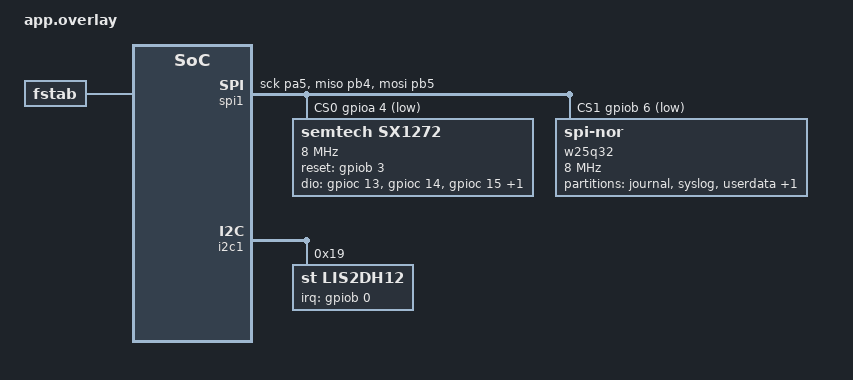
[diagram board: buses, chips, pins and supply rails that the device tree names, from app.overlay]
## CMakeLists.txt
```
# SPDX-License-Identifier: Apache-2.0

cmake_minimum_required(VERSION 3.20.0)
find_package(Zephyr REQUIRED HINTS $ENV{ZEPHYR_BASE})
project(badge)

target_sources(app PRIVATE
    src/main.c
    src/accel.c
    src/ble.c
    src/button.c
    src/event_log.c
    src/gatt_badge.c
    src/lora.c
    src/user_data.c)

# Доступ к низкоуровневому API модуля loramac-node (radio.h: struct Radio_s)
# для прямого чтения/записи регистров SX1272 по SPI (диагностика в lora.c).
#
# ZEPHYR_LORAMAC_NODE_MODULE_DIR недоступна на этом этапе, поэтому вычисляем
# путь к модулю относительно ZEPHYR_BASE (ZEPHYR_BASE/../modules/...).
get_filename_component(WEST_TOPDIR "${ZEPHYR_BASE}/.." ABSOLUTE)
target_include_directories(app PRIVATE
    ${WEST_TOPDIR}/modules/lib/loramac-node/src/radio)
```

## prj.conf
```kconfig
# SPDX-License-Identifier: Apache-2.0

# ================================================================== #
#  Базовая периферия                                                   #
# ================================================================== #
CONFIG_GPIO=y

# ================================================================== #
#  Акселерометр LIS2DH12 (модуль RobotClass, узел &lis2dh12 на i2c1)   #
#                                                                     #
#  CONFIG_SENSOR — подсистема Zephyr: единый API                      #
#                  (sensor_sample_fetch / sensor_channel_get /        #
#                  sensor_attr_set) для любых сенсоров;               #
#  CONFIG_I2C    — шина (драйвер LIS2DH включил бы её сам, но         #
#                  пропишем явно, как в сэмпле samples/sensor/lis2dh);#
#  CONFIG_LIS2DH — драйвер drivers/sensor/st/lis2dh; включается сам   #
#                  по факту узла в devicetree, здесь явно для         #
#                  наглядности.                                       #
#                                                                     #
#  Параметры чипа (см. Kconfig в drivers/sensor/st/lis2dh):           #
#    OPER_MODE_NORMAL    — 10-бит режим (баланс разрешение/ток);      #
#    ACCEL_RANGE_RUNTIME — диапазон ±2/4/8/16g задаём из кода (±2g);  #
#    ODR_RUNTIME         — частоту измерений задаём из кода (10 Гц).  #
#                                                                     #
#  Этап 2 (триггеры по INT1 → PB0): добавить                          #
#    CONFIG_LIS2DH_TRIGGER_GLOBAL_THREAD=y — тогда прерывания чипа    #
#    обрабатывает драйвер в системной workqueue (без своего потока).  #
#                                                                     #
#  Встроенный датчик температуры кристалла: канал SENSOR_CHAN_DIE_TEMP#
#  (источник данных для ESS 0x2A6E — внешнего термометра на плате нет)#
# ================================================================== #
CONFIG_SENSOR=y
CONFIG_I2C=y
CONFIG_LIS2DH=y
CONFIG_LIS2DH_OPER_MODE_NORMAL=y
CONFIG_LIS2DH_ACCEL_RANGE_RUNTIME=y
CONFIG_LIS2DH_ODR_RUNTIME=y
CONFIG_LIS2DH_MEASURE_TEMPERATURE=y

# Печать %f в LOG_* (sensor_value_to_double): поддержка дробных в
# cbprintf (+ несколько КБ flash). Без неё — только целые числа.
CONFIG_CBPRINTF_FP_SUPPORT=y

# Стек main-потока: в нём до main() выполняются POST_KERNEL-инициализации
# устройств (включая драйвер lis2dh с LOG_INF). Дефолтных 1024 байт
# не хватило — MPU FAULT "Stack overflow" при загрузке (поймано по RTT).
CONFIG_MAIN_STACK_SIZE=2048

# Стек idle-потока: на нём работает z_cstart (boot-контекст), где тоже
# выполняются инициализации устройств. Дефолтные на ARM 384 байта
# переполнились прямо в init драйвера lis2dh (LOG-пакет 256 Б +
# кадры драйвера) — MPU FAULT по адресу стека z_idle_stacks.
CONFIG_IDLE_STACK_SIZE=1024

# Стек потока обработки логов: он форматирует %f (cbprintf FP) —
# дефолтного запаса на 6 аргументов-Double может не хватить.
CONFIG_LOG_PROCESS_THREAD_STACK_SIZE=2048

# ================================================================== #
#  LoRa-трансивер SX1272 (штатная подсистема Zephyr, узел в app.overlay)#
#                                                                     #
#  CONFIG_LORA                             — API lora_config/recv;     #
#  CONFIG_LORA_MODULE_BACKEND_LORAMAC_NODE — низкоуровневый драйвер    #
#        SX127x из модуля modules/lib/loramac-node. Чип определяется   #
#        по devicetree: compatible = "semtech,sx1272".                 #
# ================================================================== #
CONFIG_SPI=y
CONFIG_LORA=y
CONFIG_LORA_MODULE_BACKEND_LORAMAC_NODE=y
# LoRaWAN не используется: работаем на уровне LoRa-модема (точка-точка).
CONFIG_LORAWAN=n
# Shell-команды lora (config/send/recv) для интерактивной проверки —
# выключены: shell по RTT поллит канал и мешает CPU1 входить в STOP2.
# Для отладки включить вместе с shell (см. блок ниже):
# CONFIG_LORA_SHELL=y

# ================================================================== #
#  Низкое энергопотребление CPU1: PM + Tickless                       #
#                                                                     #
#  ВНИМАНИЕ: PM ВРЕМЕННО ВЫКЛЮЧЕН. С CONFIG_PM=y после загрузки       #
#  I2C-обмен с LIS2DH12 сыпется ошибками (-EIO, «failed to read       #
#  reg_ctrl1», «did not enter suspended state») — конфликт            #
#  suspend/resume I2C1 при входе в STOP2 (нет sleep-pinctrl у i2c1    #
#  в DTS платы). Починить: добавить pinctrl-1 (sleep) для PB8/PB9     #
#  или разобрать pm_device политику драйвера lis2dh. Пока — PM=n,     #
#  всё остальное (tickless) без изменений.                            #
# ================================================================== #
# CONFIG_PM=y
CONFIG_PM=n
CONFIG_PM_DEVICE=n
CONFIG_TICKLESS_KERNEL=y

# === Консоль через SEGGER RTT (вместо USB CDC ACM) ===

# Базовая консоль
CONFIG_CONSOLE=y
CONFIG_STDOUT_CONSOLE=y

# Отключаем UART-консоль, чтобы не было конфликта с RTT
CONFIG_UART_CONSOLE=n

# Включаем библиотеку SEGGER RTT
CONFIG_USE_SEGGER_RTT=y

# Up-буфер RTT (Ch1, логи): 4 КБ вместо 1 КБ — boot-пачка логов не
# дропается, пока openocd-RTT-сервер медленно подтягивает данные
# (LOG_BACKEND_RTT_MODE_DROP + буфер по умолчанию 1 КБ теряли
# init-сообщения журнала/PSA/littlefs при старте).
CONFIG_SEGGER_RTT_BUFFER_SIZE_UP=4096

# Down-буфер RTT (Ch0, ввод в shell): дефолтные 16 Б приводили к
# склейке команд ("journal dump 40\r\n" — ровно 16 Б, хвост затирался).
CONFIG_SEGGER_RTT_BUFFER_SIZE_DOWN=64

# Направляем консольный вывод в RTT (Channel 0)
CONFIG_RTT_CONSOLE=y

# === Shell поверх RTT (Channel 0) ===
# ВНИМАНИЕ (энергопотребление): поллинг RTT-бекенда не даёт CPU1 войти
# в STOP2 (см. coconut_vibe). Сейчас включён для отладки внешней FLASH
# (journal dump/clear, fs ls) — включение в секции «Shell на RTT» ниже.
# Перед возвратом PM (STOP2) выключить (CONFIG_SHELL=n).
# CONFIG_KERNEL_SHELL=y

# === Подсистема логирования (LOG_INF/LOG_ERR/...) в SEGGER RTT ===
CONFIG_LOG=y
# RTT-бекенд: направляет сообщения LOG_* в SEGGER RTT
CONFIG_LOG_BACKEND_RTT=y
# Логи — на RTT Channel 1: Channel 0 занят консолью (CONFIG_RTT_CONSOLE).
CONFIG_LOG_BACKEND_RTT_BUFFER=1
# Режим DROP (терять при переполнении): не блокирует CPU. Для отладки
# можно поставить BLOCK — надёжнее, но ценой задержек.
CONFIG_LOG_BACKEND_RTT_MODE_DROP=y
# Максимальный размер одного сообщения лога (байт)
CONFIG_LOG_BACKEND_RTT_MESSAGE_SIZE=256
# Уровень логирования по умолчанию: 3 = INF — на время разработки.
# Перед замером тока поставить 1 (только ERR): логи будят CPU1 из STOP2.
# 1 = ERR, 2 = WRN, 3 = INF, 4 = DBG.
CONFIG_LOG_DEFAULT_LEVEL=3
# Буферизация логов: накапливать в кольцевом буфере, сбрасывать
# порциями — реже будит CPU из STOP2. При переполнении старые теряются.
CONFIG_LOG_MODE_OVERFLOW=y

# ================================================================== #
#  Bluetooth LE (on-chip радио CPU2)                                   #
#                                                                     #
#  Радиомодуль STM32WB55 (CPU2) управляется через IPCC/IPM-драйвер     #
#  (drivers/bluetooth/hci/ipm_stm32wb.c). Узел ble_rf уже включён     #
#  в stm32wb.dtsi, а zephyr,bt-hci = &ble_rf — в chosen.              #
#  Поэтому CONFIG_BT_STM32_IPM включается автоматически.              #
# ================================================================== #

# Базовый стек Bluetooth LE (Host + Controller-драйвер IPM)
CONFIG_BT=y

# Периферийная роль (бейдж — периферия для хоста)
CONFIG_BT_PERIPHERAL=y

# Менеджер безопасности (SMP): задел под шифрованный канал данных
CONFIG_BT_SMP=y

# Хранение ключей спаривания и ID-адреса во flash (NVS).
# Сохраняет bonding между перезагрузками (ключи, IRK, CSRK).
# ВАЖНО: при CONFIG_BT_SETTINGS=y стек НЕ создаёт ID-адрес сам.
# Приложение обязано вызвать settings_load() ПОСЛЕ bt_enable()
# (в callback'е bt_ready в ble.c), иначе реклама падает с -EAGAIN (-11):
#   "No ID address. App must call settings_load()".
CONFIG_BT_SETTINGS=y
CONFIG_SETTINGS=y
CONFIG_FLASH=y
CONFIG_FLASH_MAP=y
CONFIG_NVS=y

# Имя устройства, которое увидит хост (телефон/ПК) при сканировании
CONFIG_BT_DEVICE_NAME="Badge"

# Увеличиваем стек системной очереди работ (settings/BT требуют больше)
CONFIG_SYSTEM_WORKQUEUE_STACK_SIZE=2048

# ================================================================== #
#  Энергосбережение BLE (connection parameters)                       #
#                                                                     #
#  Минимизируем активность радио CPU2 через большие connection        #
#  interval + slave latency: радио просыпается раз в ~4 секунды.      #
#  Параметры передаются хосту через GAP; хост применяет их            #
#  ПОСЛЕ успешного подключения.                                       #
# ================================================================== #
CONFIG_BT_GAP_PERIPHERAL_PREF_PARAMS=y
# interval: единица 1.25 мс.
# MIN=320, MAX=320 → 400 мс между connection events.
CONFIG_BT_PERIPHERAL_PREF_MIN_INT=320
CONFIG_BT_PERIPHERAL_PREF_MAX_INT=320
# slave latency: пропуск 9 events → радио спит ~4 сек (9*400 мс)
CONFIG_BT_PERIPHERAL_PREF_LATENCY=9
# supervision timeout: единица 10 мс.
# Требование BLE: timeout > (1+latency)*interval*2 → 6 > (1+9)*0.4*2=8 ❌
# Поэтому при latency=9 interval=400мс нужен timeout > 8 сек → 1000 (10с).
CONFIG_BT_PERIPHERAL_PREF_TIMEOUT=1000

# ================================================================== #
#  GATT-сервисы данных жетона (контракт: android_badge/PROTOCOL.md)     #
#                                                                       #
#  Стандартные (готовые подсистемы Zephyr):                             #
#    BAS  0x180F — уровень заряда (пока заглушка 100 %: нет             #
#                  мониторинга АКБ на отладочной плате);                #
#    DIS  0x180A — версия ПО (Firmware Revision).                       #
#  ESS 0x181A/0x2A6E (температура) — готового сервиса в Zephyr НЕТ      #
#    (CONFIG_BT_ESS не существует), реализован в src/gatt_badge.c       #
#    c SIG-UUID; источник — термодатчик кристалла LIS2DH12.             #
#  Кастомный сервис BAD6E001 (аксель BAD6E002 + конфиг BAD6E003) —      #
#    тоже src/gatt_badge.c; конфиг хранится в settings/NVS badge/cfg.   #
# ================================================================== #
CONFIG_BT_BAS=y
CONFIG_BT_DIS=y
CONFIG_BT_DIS_FW_REV=y
CONFIG_BT_DIS_FW_REV_STR="1.0.0"

# ================================================================== #
#  MCUmgr over BLE + MCUboot (OTA: upload → test → reset → confirm)     #
#                                                                       #
#  Раскладка флеша платы weact_stm32wb55_core (партии в её DTS):        #
#    0x08000000 mcuboot (48 КБ) · 0x0800C000 slot0 (400 КБ) ·           #
#    0x08070000 slot1 (400 КБ) · 0x080D4000 scratch (16 КБ) ·           #
#    0x080D8000 storage/NVS (8 КБ).                                     #
#  Сборка MCUboot: см. README (bootloader/mcuboot/boot/zephyr).         #
#  Подпись образа: тот же ключ, что у бутлоадера (RSA-2048,             #
#  root-rsa-2048.pem из модуля MCUboot; путь относителен west topdir).  #
#  Артефакт OTA: build/zephyr/app_update.bin (подписан автоматически).  #
# ================================================================== #
CONFIG_ZCBOR=y			# зависимость MCUMGR (библиотека CBOR)
CONFIG_STREAM_FLASH=y		# зависимость IMG_MANAGER
CONFIG_MCUMGR=y
CONFIG_MCUMGR_TRANSPORT_BT=y
# На время SMP-обмена — быстрые conn params (после — медленные из
# CONFIG_BT_PERIPHERAL_PREF_*); ускоряет OTA на порядок.
CONFIG_MCUMGR_TRANSPORT_BT_CONN_PARAM_CONTROL=y
# SMP-сервис без требования pairing (фаза 1; дефолт при BT_SMP=y —
# RW_AUTHEN, что ломает just-works сопряжение с приложением).
CONFIG_MCUMGR_TRANSPORT_BT_PERM_RW=y
CONFIG_MCUMGR_GRP_OS=y
CONFIG_MCUMGR_GRP_IMG=y
CONFIG_IMG_MANAGER=y
CONFIG_BOOTLOADER_MCUBOOT=y
CONFIG_MCUBOOT_SIGNATURE_KEY_FILE="bootloader/mcuboot/root-rsa-2048.pem"

# MTU для SMP/OTA: 247 байт ATT (нужно приложению mcumgr-ble;
# дефолтные 23 байта делают перенос 400-КБ образа вечностью).
CONFIG_BT_L2CAP_TX_MTU=247
CONFIG_BT_BUF_ACL_TX_SIZE=251
CONFIG_BT_BUF_ACL_RX_SIZE=251
# В этом дереве Zephyr счётчик RX-буферов рефакторен: общий лимит
# ведёт стек (flow control), извне настраиваются только «лишние»
# буферы (BT_BUF_ACL_RX_COUNT больше не существует).
CONFIG_BT_BUF_ACL_RX_COUNT_EXTRA=4

# ================================================================== #
#  Внешняя FLASH W25Q32 (4 МБ, узел &w25q32 на spi1, CS=PB6) — ТЗ 4.1    #
#                                                                       #
#  CONFIG_FLASH / CONFIG_FLASH_MAP уже включены выше (NVS для BT).      #
#  CONFIG_SPI_NOR    — драйвер drivers/flash/spi_nor.c; включается      #
#                      сам по факту узла "jedec,spi-nor" в DT,          #
#                      здесь явно для наглядности.                      #
# ================================================================== #
CONFIG_SPI_NOR=y

# Erase-гранулярность драйвера: 4 КБ (сектора W25Q32) вместо дефолтных
# 64 КБ. От неё отдаёт сектора flash_area_get_sectors() → FCB журнала
# ротирует 32 сектора по 4 КБ (износ равномернее), а не 2 по 64 КБ.
CONFIG_SPI_NOR_FLASH_LAYOUT_PAGE_SIZE=4096

# ================================================================== #
#  Кольцевой журнал событий (ТЗ 4.2) — FCB                              #
#                                                                       #
#  FCB (Flash Circular Buffer) — append-only кольцевой буфер по         #
#  секторам с CRC на каждую запись и автоматической ротацией            #
#  (амортизация износа). Запись ТЗ: 10 Б = ts(4)+type(1)+data(4)+CRC8.  #
#  Реализация: src/event_log.c.                                         #
# ================================================================== #
CONFIG_FCB=y

# ================================================================== #
#  Системный лог во внешней FLASH (ТЗ 4.1: ≤64 КБ)                       #
#                                                                       #
#  littlefs на партиции syslog (маунт /syslog через fstab в DT),        #
#  LOG_BACKEND_FS пишет LOG_* файлами log.NNNN: лимит 8 файлов ×        #
#  8 КБ = 64 КБ, старые удаляются (OVERWRITE). Логи по-прежнему         #
#  идут и в RTT (Channel 1) — флеш это дубль, не замена.                #
# ================================================================== #
CONFIG_FILE_SYSTEM=y
CONFIG_FILE_SYSTEM_LITTLEFS=y
CONFIG_LOG_BACKEND_FS=y
CONFIG_LOG_BACKEND_FS_DIR="/syslog"
CONFIG_LOG_BACKEND_FS_FILE_SIZE=8192
CONFIG_LOG_BACKEND_FS_FILES_LIMIT=6

# ================================================================== #
#  Shell на RTT (Channel 0, поверх консоли)                             #
#                                                                       #
#  Команды: journal dump/clear (src/event_log.c), fs ls/read            #
#  (FILE_SYSTEM_SHELL — смотреть /syslog, /data).                      #
#  ВНИМАНИЕ: поллинг RTT не даёт CPU1 войти в STOP2 — это отладочный   #
#  режим (сейчас PM выключен, не критично); при возврате PM —           #
#  CONFIG_SHELL=n (см. предупреждение в секции RTT выше).              #
# ================================================================== #
CONFIG_SHELL=y
CONFIG_SHELL_BACKEND_RTT=y
CONFIG_FILE_SYSTEM_SHELL=y

# ================================================================== #
#  RTC — метки времени журнала (ТЗ 4.2: UNIX timestamp)                 #
#                                                                       #
#  Драйвер rtc_stm32 (узел &rtc уже okay в DTS платы, тактирование      #
#  LSI). Синхронизации времени пока нет: метки монотонны от старта      #
#  питания, календарно фиктивны до первой установки времени.           #
# ================================================================== #
CONFIG_RTC=y
CONFIG_RTC_STM32=y

# ================================================================== #
#  Шифрование пользовательских данных (ТЗ 4.3): PSA Crypto, AES-256-GCM #
#                                                                       #
#  Крипто-стек: PSA Crypto API поверх mbedTLS (модуль tf-psa-crypto);   #
#  включено только необходимое: AES + GCM (остальное не линкуется).     #
#  Ключ: RNG при первом старте → NVS (settings sec/aeskey; CONFIG_SETTINGS#
#  уже включён выше для BT), реализация src/user_data.c; выбор стека    #
#  обоснован в Badge_Obsidian/Работа/Криптозащита пользовательских      #
#  данных.md.                                                          #
# ================================================================== #
CONFIG_ENTROPY_GENERATOR=y
CONFIG_PSA_CRYPTO=y
CONFIG_PSA_CRYPTO_PROVIDER_MBEDTLS=y
CONFIG_PSA_WANT_KEY_TYPE_AES=y
CONFIG_PSA_WANT_ALG_GCM=y
```

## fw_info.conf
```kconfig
# временно: читаем версии CPU2 без жёсткой проверки
CONFIG_BT_STM32_IPM_FW_CHECK_STRICT=n
```

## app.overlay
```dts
/* SPDX-License-Identifier: Apache-2.0 */

/*
 * Бейдж на WeAct Studio STM32WB55 Core Board.
 *
 * Кнопка sw0 (PH3) и светодиод led0 (PE4) уже определены в базовом DTS
 * платы — здесь не описываются (см. button.c: DT_ALIAS(sw0)/DT_ALIAS(led0)).
 *
 * Назначение overlay:
 *   - подключение LoRa-трансивера SX1272 на SPI1;
 *   - подключение внешней FLASH W25Q32 (4 МБ) на тот же SPI1 (второй CS);
 *   - подключение акселерометра LIS2DH12 на I2C1;
 *   - отключение неиспользуемой периферии для снижения тока.
 */

/ {
	aliases {
		lora0 = &sx1272;	/* алиас для подсистемы LoRa */
		accel0 = &lis2dh12;	/* алиас акселерометра (как на платах Zephyr) */
		extflash0 = &w25q32;	/* внешняя SPI-NOR FLASH (журнал/логи/данные) */
	};
};

/* ====================================================================== *
 *  SX1272 LoRa трансивер на SPI1 (распиновка проверена в zephyr_tutorial) *
 *                                                                         *
 *  Назначение пинов платы WeAct STM32WB55 Core:                           *
 *    SCK  = PA5   (spi1_sck_pa5)                                          *
 *    MISO = PB4   (spi1_miso_pb4)                                         *
 *    MOSI = PB5   (spi1_mosi_pb5)                                         *
 *    CS   = PA4   (программный CS через cs-gpios, индекс 0)               *
 *                                                                         *
 *    RESET = PB3  (SX1272: активный высокий, open-drain)                  *
 *                                                                         *
 *  DIO пины (прерывания трансивера):                                      *
 *    DIO0 = PC13 (RxDone — основной источник пробуждения CPU1 из STOP2), *
 *    DIO1 = PC14, DIO2 = PC15, DIO3 = PC0 (задел: CAD/Timeout).           *
 * ====================================================================== */
&spi1 {
	pinctrl-0 = <&spi1_sck_pa5 &spi1_miso_pb4 &spi1_mosi_pb5>;
	pinctrl-names = "default";
	/* Два программных CS на шине: индекс 0 — SX1272 (PA4), 1 — W25Q32 (PB6).
	 * Zephyr SPI-транзакции лочат шину на устройство, так что совместное
	 * использование SPI1 трансивером и флешей штатно. */
	cs-gpios = <&gpioa 4 GPIO_ACTIVE_LOW>, <&gpiob 6 GPIO_ACTIVE_LOW>;
	status = "okay";

	sx1272: sx1272@0 {
		compatible = "semtech,sx1272";
		reg = <0>;
		spi-max-frequency = <8000000>;
		status = "okay";

		/* SX1272: RESET активный высокий (open-drain) */
		reset-gpios = <&gpiob 3 GPIO_ACTIVE_HIGH>;

		/* DIO0..DIO3 */
		dio-gpios = <&gpioc 13 (GPIO_PULL_DOWN | GPIO_ACTIVE_HIGH)>,
			    <&gpioc 14 (GPIO_PULL_DOWN | GPIO_ACTIVE_HIGH)>,
			    <&gpioc 15 (GPIO_PULL_DOWN | GPIO_ACTIVE_HIGH)>,
			    <&gpioc 0  (GPIO_PULL_DOWN | GPIO_ACTIVE_HIGH)>;

		power-amplifier-output = "rfo";
	};

	/* ================================================================== *
	 *  Внешняя FLASH W25Q32BVSIG (Winbond, 4 МБ) — ТЗ 4.1               *
	 *                                                                     *
	 *  Модуль (6 пин): VCC→3V3, GND→GND, SLK(CLK)→PA5,                  *
	 *  D1(DI/MOSI)→PB5, D0(DO/MISO)→PB4 — шина общая с SX1272;          *
	 *  CS→PB6 (cs-gpios, индекс 1). Если JEDEC ID читается как          *
	 *  000000/FFFFFF — у модуля D0/D1 перепутаны местами, поменять      *
	 *  два провода.                                                       *
	 *                                                                     *
	 *  Драйвер: штатный drivers/flash/spi_nor.c (compatible              *
	 *  "jedec,spi-nor", CONFIG_SPI_NOR). JEDEC ID W25Q32BV = ef 40 16.  *
	 *  8 МГц — надёжно на проводах-перемычках (чип держит до 104 МГц).   *
	 *                                                                     *
	 *  Разметка 4 МБ (ТЗ 4.1): журнал 128К · системный лог 64К ·         *
	 *  пользовательские данные 512К · резерв 3.34М. Резерв потом можно   *
	 *  отдать под любую партицию, не трогая чужие смещения.              *
	 * ================================================================== */
	w25q32: w25q32@1 {
		compatible = "jedec,spi-nor";
		reg = <1>;
		spi-max-frequency = <8000000>;
		jedec-id = [ef 40 16];
		size = <33554432>;	/* 4 МБ */
		status = "okay";

		partitions {
			compatible = "fixed-partitions";
			#address-cells = <1>;
			#size-cells = <1>;

			/* Кольцевый журнал событий (ТЗ 4.2), FCB: 32 сектора × 4 КБ */
			journal_partition: partition@0 {
				label = "journal";
				reg = <0x00000000 0x00020000>;	/* 128 КБ */
			};

			/* Системный лог (CONFIG_LOG_BACKEND_FS), littlefs */
			syslog_partition: partition@20000 {
				label = "syslog";
				reg = <0x00020000 0x00010000>;	/* 64 КБ */
			};

			/* Пользовательские данные (ТЗ 4.3), littlefs + AES-GCM */
			userdata_partition: partition@30000 {
				label = "userdata";
				reg = <0x00030000 0x00080000>;	/* 512 КБ */
			};

			/* Резерв: расширенный журнал, бэкапы, ключи (будущее) */
			reserve_partition: partition@b0000 {
				label = "ext-reserve";
				reg = <0x000b0000 0x00350000>;	/* ~3.34 МБ */
			};
		};
	};
};

/* ====================================================================== *
 *  Акселерометр LIS2DH12 на I2C1 (модуль RobotClass «LIS2DH12 с QIIC»)   *
 *                                                                         *
 *  Шина уже настроена в базовом DTS платы WeAct (PB8=SCL, PB9=SDA,        *
 *  400 кГц; подтяжки SCL/SDA — на самом модуле). Выбор адреса и режима:   *
 *    AD (SA0) = 3V3 → I2C-адрес 0x19 (надпись на модуле; на GND → 0x18);  *
 *    CS       = 3V3 → I2C-режим чипа (CS=0 включил бы SPI-режим).        *
 *                                                                         *
 *  compatible: "st,lis2dh12" (биндинг st,lis2dh12-i2c.yaml) + базовый    *
 *  "st,lis2dh" — по нему драйвер drivers/sensor/st/lis2dh находит узел   *
 *  (DT_DRV_COMPAT st_lis2dh). Так же подключён LIS2DH12 на платах        *
 *  Zephyr (actinius_icarus, decawave_dwm1001_dev и др.).                 *
 *                                                                         *
 *  INT1 чипа (IT1 на модуле) — на PB0: задел под этап 2                  *
 *  (CONFIG_LIS2DH_TRIGGER_*: data-ready / детектор движения).            *
 *  На этапе 1 (поллинг) пин лишь настраивается входом.                   *
 *  INT2 (IT2) не подключён.                                              *
 * ====================================================================== */
&i2c1 {
	lis2dh12: lis2dh12@19 {
		compatible = "st,lis2dh12", "st,lis2dh";
		reg = <0x19>;
		status = "okay";

		/* INT1 (IT1) → PB0, активен высоким уровнем. */
		irq-gpios = <&gpiob 0 GPIO_ACTIVE_HIGH>;
	};
};

/* ====================================================================== *
 *  Файловые системы на партициях W25Q32 (fstab, автомаунты)              *
 *                                                                         *
 *  /syslog — системный лог (CONFIG_LOG_BACKEND_FS, ТЗ 4.1 ≤64 КБ);       *
 *  /data   — пользовательские данные (ТЗ 4.3, шифруются AES-GCM).        *
 *  Кэш 64 Б у syslog (только запись логов); 256 Б у /data (чтение        *
 *  сканером/по BLE позже). automount: формат при первом маунте           *
 *  littlefs делает сам (флаг FS_MOUNT_FLAG_AUTOMATIC + форматирование).  *
 * ====================================================================== */
/ {
	fstab {
		compatible = "zephyr,fstab";

		lfs_syslog: lfs_syslog {
			compatible = "zephyr,fstab,littlefs";
			mount-point = "/syslog";
			partition = <&syslog_partition>;
			automount;
			read-size = <16>;
			prog-size = <16>;
			cache-size = <64>;
			lookahead-size = <32>;
			block-cycles = <512>;
		};

		lfs_data: lfs_data {
			compatible = "zephyr,fstab,littlefs";
			mount-point = "/data";
			partition = <&userdata_partition>;
			automount;
			read-size = <16>;
			prog-size = <16>;
			cache-size = <256>;
			lookahead-size = <64>;
			block-cycles = <512>;
		};
	};
};

/* ====================================================================== *
 *  Отключение неиспользуемой периферии для снижения энергопотребления    *
 *                                                                         *
 *  Каждый активный узел в SoC dtsi тактируется и потребляет ток          *
 *  даже в idle. SPI1 не трогаем — он нужен SX1272 и W25Q32;              *
 *  I2C1 — LIS2DH12.                                                      *
 * ====================================================================== */
&usart1 { status = "disabled"; };
&spi2   { status = "disabled"; };
```

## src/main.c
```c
/*
 * SPDX-License-Identifier: Apache-2.0
 *
 * Бейдж: BLE + LoRa SX1272 + акселерометр LIS2DH12 + кнопка sw0 +
 * светодиод led0.
 *
 * Архитектура (слияние coconut_vibe и zephyr_tutorial):
 *   - кнопка/LED: прерывание EXTI + антидребезг (button.c);
 *   - BLE: реклама + подключение, сон/пробуждение (ble.c);
 *   - GATT-сервисы данных: телеметрия и конфигурация (gatt_badge.c);
 *   - LoRa: непрерывный приём 868 МГц, пакеты в callback (lora.c);
 *   - акселерометр LIS2DH12 (i2c1): поток опроса X/Y/Z + температура
 *     кристалла, телеметрия в GATT через callback (accel.c);
 *   - внешняя FLASH W25Q32 (spi1, общий с LoRa): журнал событий по
 *     ТЗ 4.2 (event_log.c), системный лог (LOG_BACKEND_FS) и
 *     шифрованные пользовательские данные по ТЗ 4.3 (user_data.c);
 *   - PM: CPU1 (M4) входит в STOP2 при idle.
 *
 * Энергосбережение:
 *   1) CONFIG_PM + CONFIG_TICKLESS_KERNEL: CPU1 входит в STOP2
 *      при idle. Пробуждение — IPCC (BLE от CPU2) и EXTI: кнопка
 *      (PH3) и DIO0 трансивера (PC13). LoRa-приём в сне продолжается.
 *   2) BLE connection parameters: радио CPU2 просыпается раз в ~4 сек
 *      (после подключения, параметры в prj.conf).
 *   3) Программный сон: через SLEEP_TIMEOUT_SEC без нажатий кнопки
 *      останавливается BLE-реклама. LoRa-приём НЕ останавливается —
 *      входящий LoRa-пакет будит бейдж. Нажатие кнопки будит BLE.
 */

#include <zephyr/kernel.h>
#include <zephyr/logging/log.h>

#include "accel.h"
#include "ble.h"
#include "button.h"
#include "event_log.h"
#include "gatt_badge.h"
#include "lora.h"
#include "user_data.h"

LOG_MODULE_REGISTER(main, CONFIG_LOG_DEFAULT_LEVEL);

/* Таймаут сна: 10 секунд без активности → останавливаем BLE-рекламу. */
#define SLEEP_TIMEOUT_SEC 10

/* Work для отложенного засыпания.
 * Сбрасывается при каждом нажатии кнопки (activity_callback).
 */
static void sleep_work_handler(struct k_work *work);
static K_WORK_DELAYABLE_DEFINE(sleep_work, sleep_work_handler);

/* Флаг состояния сна. */
static bool is_sleeping;

/* Вызывается при каждом нажатии кнопки (из button.c).
 * Сбрасывает таймер сна и будит BLE, если спит.
 */
static void on_button_activity(void)
{
	/* Сбрасываем таймер засыпания. */
	k_work_reschedule(&sleep_work, K_SECONDS(SLEEP_TIMEOUT_SEC));

	/* Если спали — просыпаемся. */
	if (is_sleeping) {
		is_sleeping = false;
		ble_wake();
	}
}

/* Вызывается по истечению SLEEP_TIMEOUT_SEC без активности. */
static void sleep_work_handler(struct k_work *work)
{
	ARG_UNUSED(work);

	if (!is_sleeping) {
		is_sleeping = true;
		//ble_sleep();
	}
}

int main(void)
{
	int ret;

	LOG_INF("Старт бейджа \"%s\"", CONFIG_BT_DEVICE_NAME);

	/* --- Кнопка sw0 + светодиод led0 --- */
	ret = button_init();
	if (ret < 0) {
		LOG_ERR("Инициализация кнопки/светодиода не удалась: %d", ret);
	}

	/* Регистрируем callback активности для сброса таймера сна. */
	button_set_activity_callback(on_button_activity);

	/* --- Внешняя FLASH W25Q32: журнал + логи + данные (ТЗ 4.1–4.3) ---
	 *
	 * Журнал инициализируем до остальных модулей и первым же пишем
	 * событие "boot". Данные — до BLE: ключ грузится из NVS тем же
	 * settings-стеком (BT вызовет settings_load() повторно, это
	 * штатно). Системный лог во флеш и маунты littlefs стартуют
	 * автоматически (fstab automount + LOG_BACKEND_FS).
	 */
	ret = event_log_init();
	if (ret < 0) {
		LOG_ERR("Инициализация журнала событий не удалась: %d", ret);
	}

	ret = user_data_init();
	if (ret < 0) {
		LOG_ERR("Инициализация пользовательских данных не удалась: %d",
			ret);
	}

	event_log_write(EV_BOOT, 0);

	/* --- GATT-сервисы данных жетона (gatt_badge.c) ---
	 * ДО ble_init(): settings-обработчик badge/cfg должен быть
	 * зарегистрирован до settings_load() в bt_ready(); callback
	 * телеметрии — до старта потока опроса акселерометра.
	 */
	ret = gatt_badge_init();
	if (ret < 0) {
		LOG_ERR("Инициализация GATT-сервисов не удалась: %d", ret);
	}

	/* --- Акселерометр LIS2DH12 (i2c1): поток телеметрии --- */
	ret = accel_init();
	if (ret < 0) {
		LOG_ERR("Инициализация акселерометра не удалась: %d", ret);
	}

	/* --- LoRa SX1272: приёмник 868 МГц --- */
	ret = lora_init();
	if (ret < 0) {
		LOG_ERR("Инициализация LoRa не удалась: %d", ret);
	}

	/* Даём RTT-вьюеру время вывести логи инициализации,
	 * прежде чем BLE начнёт спамить HCI-сообщениями.
	 */
	LOG_INF("Жду 3 сек перед BLE init...");
	k_sleep(K_SECONDS(3));
	LOG_INF("Запускаю BLE init");

	/* --- Bluetooth LE --- */
	ret = ble_init();
	if (ret < 0) {
		LOG_ERR("Инициализация Bluetooth не удалась: %d", ret);
	}

	/* Запускаем таймер сна: через 10 сек без нажатий → засыпаем. */
	k_work_reschedule(&sleep_work, K_SECONDS(SLEEP_TIMEOUT_SEC));

	/* Основной поток больше не нужен: вся логика (кнопка, LoRa-приём,
	 * BLE) живёт в прерываниях и системной workqueue. Уходим в вечный
	 * сон: при CONFIG_PM + TICKLESS_KERNEL CPU1 войдёт в STOP2 и будет
	 * пробуждаться только IPCC (BLE от CPU2), EXTI кнопки (PH3) и
	 * EXTI DIO0 трансивера (PC13, входящий LoRa-пакет).
	 */
	k_sleep(K_FOREVER);

	return 0;
}
```

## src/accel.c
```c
/*
 * SPDX-License-Identifier: Apache-2.0
 *
 * Реализация работы с акселерометром LIS2DH12. Подробнее см. accel.h.
 *
 * «По-zephyr'ому» работа с сенсором выглядит так:
 *
 *   1) чип описан в devicetree (app.overlay: &lis2dh12 на &i2c1,
 *      compatible = "st,lis2dh12", "st,lis2dh" — второй, «базовый»
 *      compatible нужен драйверу drivers/sensor/st/lis2dh, который
 *      ищет инстансы по DT_DRV_COMPAT st_lis2dh);
 *   2) драйвер включается по факту узла в DT (CONFIG_LIS2DH),
 *      сам конфигурирует чип и проверяет WHO_AM_I (ожидает 0x33);
 *   3) приложение работает только через стандартный API подсистемы
 *      SENSOR (include/zephyr/drivers/sensor.h):
 *        sensor_attr_set()     — параметры (диапазон, ODR, пороги);
 *        sensor_sample_fetch() — «забрать свежий замер у чипа»;
 *        sensor_channel_get()  — «дай последний замер» (в м/с²).
 *      Регистры чипа из приложения не трогаем вовсе.
 *
 * Поток опроса читает X/Y/Z и температуру кристалла (DIE_TEMP),
 * конвертирует в формат контракта PROTOCOL.md (милли-g, 0.01 °C) и
 * отдаёт через callback телеметрии (получатель — gatt_badge.c:
 * notify BAD6E002 + ESS 0x2A6E). Весь I2C — только из этого потока.
 */

#include <zephyr/kernel.h>
#include <zephyr/device.h>
#include <zephyr/drivers/sensor.h>
#include <zephyr/sys/atomic.h>
#include <zephyr/logging/log.h>

#include "accel.h"

LOG_MODULE_REGISTER(accel, CONFIG_LOG_DEFAULT_LEVEL);

/* ------------------------------------------------------------------ *
 *  Devicetree-узел и константы                                        *
 * ------------------------------------------------------------------ */

/* Узел &lis2dh12 в app.overlay (модуль RobotClass на i2c1, 0x19). */
#define ACCEL_NODE DT_NODELABEL(lis2dh12)
BUILD_ASSERT(DT_NODE_HAS_STATUS_OKAY(ACCEL_NODE),
	     "Не найден узел акселерометра lis2dh12 в devicetree. "
	     "Проверьте app.overlay: узел lis2dh12@19 на &i2c1.");

/* Ссылка на device, который создаёт драйвер для этого узла.
 * DEVICE_DT_GET() — константа времени компиляции; device_is_ready()
 * в accel_init() всё равно нужен: драйвер мог отказаться подниматься
 * (чип не ответил на I2C-адресе или WHO_AM_I != 0x33).
 */
static const struct device *const accel = DEVICE_DT_GET(ACCEL_NODE);

/* Callback телеметрии: регистрируется один раз ДО accel_init()
 * (gatt_badge_init()), поэтому обычного указателя достаточно. */
static accel_telemetry_cb_t telemetry_cb;

/* Период опроса (с) — меняется на лету из system workqueue
 * (конфигурация BAD6E003), читается в начале каждого цикла. */
static atomic_t telemetry_period_s = ATOMIC_INIT(1);

/* Отложенная смена ODR: 0 = изменений нет, иначе значение применяется
 * в потоке опроса перед следующим замером (I2C — только из потока). */
static atomic_t odr_hz_pending = ATOMIC_INIT(0);

/* Поток опроса: создаётся «спящим» (SYS_FOREVER_MS — не попадает
 * в планировщик до k_thread_start()), запускается из accel_init()
 * только после успешной настройки чипа.
 *   стек 2048 — с запасом под sensor API + логирование;
 *   приоритет 10 — низкий: телеметрия не критична ко времени.
 */
static void accel_poll_thread(void *arg1, void *arg2, void *arg3);
K_THREAD_DEFINE(accel_poll_tid, 2048,
		accel_poll_thread, NULL, NULL, NULL,
		10, 0, SYS_FOREVER_MS);

/* ------------------------------------------------------------------ *
 *  Замер телеметрии                                                    *
 * ------------------------------------------------------------------ */

/* Один замер: X/Y/Z + температура кристалла → формат контракта
 * (милли-g, сотые °C). Вызывается ТОЛЬКО из потока опроса. */
static int accel_fetch_telemetry(struct accel_telemetry *t)
{
	struct sensor_value val[3];	/* X, Y, Z [м/с²] */
	struct sensor_value tval;	/* температура [°C] */
	int ret;

	/* sensor_sample_fetch() без канала = SENSOR_CHAN_ALL: X/Y/Z и,
	 * при CONFIG_LIS2DH_MEASURE_TEMPERATURE, температура кристалла. */
	ret = sensor_sample_fetch(accel);
	if (ret == -EBADMSG) {
		/* Замер «просрочен»: новое измерение пришло раньше, чем
		 * мы прочитали предыдущее. Для опроса не страшно —
		 * читаем то, что лежит сейчас. */
		ret = 0;
	}
	if (ret < 0) {
		LOG_ERR("sensor_sample_fetch() не удался: %d", ret);
		return ret;
	}

	ret = sensor_channel_get(accel, SENSOR_CHAN_ACCEL_XYZ, val);
	if (ret < 0) {
		LOG_ERR("sensor_channel_get(XYZ) не удался: %d", ret);
		return ret;
	}

	/* sensor_value — это val1 + val2/1000000 (fixed point), [м/с²].
	 * Пересчёт в милли-g делаем ЦЕЛОЧИСЛЕННО (cbprintf в логах
	 * надёжно пакует лишь первые несколько double-аргументов):
	 *   mg = (val1*1e6 + val2) / 9807  (9807 ≈ 9.80665 * 1000).
	 * int16 хватает с запасом: ±2g → ±2000 мг. */
	for (int i = 0; i < 3; i++) {
		int64_t um = (int64_t)val[i].val1 * 1000000 + val[i].val2;

		t->mg[i] = (int16_t)(um / 9807);
	}

	/* Температура кристалла (для ESS 0x2A6E): сотые доли °C.
	 * Точность грубая (датчик кристалла) — до появления внешнего
	 * термометра по ТЗ (ревизия платы). */
	t->temp_c01 = 0;
	ret = sensor_channel_get(accel, SENSOR_CHAN_DIE_TEMP, &tval);
	if (ret < 0) {
		LOG_WRN("sensor_channel_get(DIE_TEMP): %d", ret);
	} else {
		int32_t c01 = tval.val1 * 100 + tval.val2 / 10000;

		t->temp_c01 = (int16_t)CLAMP(c01, INT16_MIN, INT16_MAX);
	}

	return 0;
}

/* Применение отложенной смены ODR (вызывается только из потока опроса). */
static void apply_pending_odr(void)
{
	struct sensor_value attr;
	uint16_t odr;
	int ret;

	odr = (uint16_t)atomic_set(&odr_hz_pending, 0);
	if (odr == 0) {
		return;
	}

	attr.val1 = odr;
	attr.val2 = 0;
	ret = sensor_attr_set(accel, SENSOR_CHAN_ACCEL_XYZ,
			      SENSOR_ATTR_SAMPLING_FREQUENCY, &attr);
	if (ret < 0) {
		LOG_ERR("Не удалось задать ODR %u Гц: %d", odr, ret);
	} else {
		LOG_INF("[accel] ODR = %u Гц", odr);
	}
}

static void accel_poll_thread(void *arg1, void *arg2, void *arg3)
{
	struct accel_telemetry t;
	uint16_t period;

	ARG_UNUSED(arg1);
	ARG_UNUSED(arg2);
	ARG_UNUSED(arg3);

	LOG_INF("Поток телеметрии запущен (период по умолчанию %d с)",
		(int)atomic_get(&telemetry_period_s));

	while (true) {
		period = (uint16_t)atomic_get(&telemetry_period_s);
		if (period == 0) {
			period = 1;
		}

		k_sleep(K_SECONDS(period));

		apply_pending_odr();

		if (accel_fetch_telemetry(&t) == 0) {
			int16_t tc = t.temp_c01;
			int t_int = tc / 100;
			int t_frac = tc % 100;

			if (t_frac < 0) {
				t_frac = -t_frac;
			}

			LOG_INF("[accel] x=%5d y=%5d z=%5d мг | "
				"T=%d.%02d °C",
				t.mg[0], t.mg[1], t.mg[2], t_int, t_frac);

			if (telemetry_cb != NULL) {
				telemetry_cb(&t);
			}
		}
	}
}

/* ------------------------------------------------------------------ *
 *  Публичные функции                                                  *
 * ------------------------------------------------------------------ */

int accel_set_telemetry_cb(accel_telemetry_cb_t cb)
{
	/* Регистрируется один раз до старта потока опроса. */
	telemetry_cb = cb;
	return 0;
}

int accel_set_odr(uint16_t odr_hz)
{
	if (odr_hz == 0) {
		return -EINVAL;
	}

	/* Значение подхватывает поток опроса перед следующим замером. */
	atomic_set(&odr_hz_pending, odr_hz);
	return 0;
}

void accel_set_telemetry_period(uint16_t period_s)
{
	if (period_s == 0) {
		period_s = 1;
	}

	atomic_set(&telemetry_period_s, period_s);
}

int accel_init(void)
{
	struct sensor_value attr;
	int ret;

	if (!device_is_ready(accel)) {
		/* Чаще всего значит: чип не ответил на I2C-адресе или
		 * WHO_AM_I != 0x33. Проверить: SDA/SCL/питание модуля,
		 * адрес в app.overlay (0x19 при AD=3V3, 0x18 при AD=GND),
		 * что CS подтянут к 3V3 (I2C-режим чипа). */
		LOG_ERR("Акселерометр %s не готов: нет связи по I2C "
			"или неверный адрес", accel->name);
		return -ENODEV;
	}

	/* Диапазон ±2g: гравитация (1g) и небольшие ускорения — с
	 * запасом; при ±2g у чипа максимальная чувствительность.
	 * Атрибут задаётся в м/с², поэтому 2g переводим хелпером. */
	(void)sensor_g_to_ms2(2, &attr);
	ret = sensor_attr_set(accel, SENSOR_CHAN_ACCEL_XYZ,
			      SENSOR_ATTR_FULL_SCALE, &attr);
	if (ret < 0) {
		LOG_ERR("Не удалось задать диапазон ±2g: %d", ret);
		return ret;
	}

	/* ODR по умолчанию 10 Гц (= BAD6E003 default). Период опроса
	 * задаётся конфигурацией (по умолчанию 1 с); чем ниже ODR,
	 * тем меньше ток самого чипа. Значение по умолчанию может
	 * быть перекрыто конфигом из NVS (gatt_badge.c, commit). */
	attr.val1 = 10;
	attr.val2 = 0;
	ret = sensor_attr_set(accel, SENSOR_CHAN_ACCEL_XYZ,
			      SENSOR_ATTR_SAMPLING_FREQUENCY, &attr);
	if (ret < 0) {
		LOG_ERR("Не удалось задать ODR 10 Гц: %d", ret);
		return ret;
	}

	LOG_INF("[accel] LIS2DH12 готов: ±2g, ODR 10 Гц, "
		"опрос 1 с (до загрузки конфига)");

	/* Запускаем поток опроса (создан в приостановленном виде). */
	k_thread_start(accel_poll_tid);

	return 0;
}
```

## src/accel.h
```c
/*
 * SPDX-License-Identifier: Apache-2.0
 *
 * Акселерометр LIS2DH12 (модуль RobotClass «LIS2DH12 с QIIC»,
 * I2C-адрес 0x19; узел &lis2dh12 на шине &i2c1 — app.overlay,
 * alias accel0). Встроенный датчик температуры кристалла —
 * CONFIG_LIS2DH_MEASURE_TEMPERATURE, канал SENSOR_CHAN_DIE_TEMP.
 *
 * Режим (этап 1+): поток опроса читает X/Y/Z (+ температуру кристалла)
 * с периодом telemetry_period_s из конфигурации BAD6E003 и отдаёт замер
 * наружу через callback (получатель — GATT-сервисы, gatt_badge.c).
 * ODR чипа и период опроса меняются на лету (без перезагрузки) —
 * accel_set_odr()/accel_set_telemetry_period(): вызываются из
 * system workqueue (gatt_badge.c), применения — в потоке опроса.
 *
 * Этап 2 (план): триггеры по INT1 чипа (пин PB0) — data-ready
 * («данные готовы», чип сам зовёт CPU) и детектор движения
 * (SENSOR_TRIG_DELTA) — задел под пробуждение бейджа от тряски.
 */

#ifndef ACCEL_H
#define ACCEL_H

/*
 * Один замер телеметрии.
 *   mg[3]      — ускорение X/Y/Z, милли-g (int16; ±2g → ±2000);
 *   temp_c01   — температура кристалла, сотые доли °C (int16);
 *                0, если CONFIG_LIS2DH_MEASURE_TEMPERATURE выключен.
 */
struct accel_telemetry {
	int16_t mg[3];
	int16_t temp_c01;
};

/* Тип callback'а телеметрии: вызывается из потока опроса акселерометра. */
typedef void (*accel_telemetry_cb_t)(const struct accel_telemetry *t);

/*
 * Инициализация акселерометра:
 *   - проверка готовности устройства (nodelabel lis2dh12 → &i2c1;
 *     если чип не ответил на WHO_AM_I, драйвер не создаст device);
 *   - установка диапазона ±2g и ODR по умолчанию 10 Гц через
 *     sensor_attr_set() (runtime-атрибуты подсистемы SENSOR);
 *   - запуск потока опроса (период по умолчанию 1 с).
 *
 * Возвращает 0 при успехе, отрицательный код ошибки при неудаче.
 */
int accel_init(void);

/*
 * Регистрация callback'а телеметрии. Вызывать ОДИН раз и ДО
 * accel_init(): callback начинает приходить с первым замером.
 */
int accel_set_telemetry_cb(accel_telemetry_cb_t cb);

/*
 * Смена ODR чипа (Гц). Значение — только из поддерживаемых LIS2DH12
 * (1/10/25/50/100/200; см. snap в gatt_badge.c). Применяется в потоке
 * опроса перед следующим замером — весь I2C только из потока опроса
 * (Zephyr I2C API не гарантирует потокобезопасность на устройство).
 * Возвращает 0 — значение принято; ошибки применения — в RTT-лог.
 */
int accel_set_odr(uint16_t odr_hz);

/*
 * Смена периода опроса (секунды, 1..3600). Вступает в силу со
 * следующего цикла потока опроса.
 */
void accel_set_telemetry_period(uint16_t period_s);

#endif /* ACCEL_H */
```

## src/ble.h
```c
/*
 * SPDX-License-Identifier: Apache-2.0
 *
 * Bluetooth LE бейджа: реклама + подключение + сон/пробуждение.
 *
 * GATT-профиль данных бейджа (передача пакетов по BLE) — следующий
 * этап разработки; сейчас приложение только рекламируется и держит
 * подключение (задел: SMP + bonding, см. prj.conf).
 *
 * Имя устройства задаётся в prj.conf: CONFIG_BT_DEVICE_NAME="Badge".
 */

#ifndef BLE_H
#define BLE_H

/*
 * Инициализация Bluetooth LE:
 *   - bt_enable() с callback bt_ready;
 *   - settings_load() и запуск рекламы в bt_ready().
 *
 * Возвращает 0 при успехе, отрицательный код ошибки при неудаче
 * (аналогично bt_enable()).
 */
int ble_init(void);

/*
 * Останавливает BLE-рекламу для снижения энергопотребления.
 * Если есть активное подключение — отключает его.
 * Радио CPU2 прекращает передачу advertising-пакетов.
 */
void ble_sleep(void);

/*
 * Возобновляет BLE-рекламу после сна.
 */
void ble_wake(void);

#endif /* BLE_H */
```

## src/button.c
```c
/*
 * SPDX-License-Identifier: Apache-2.0
 *
 * Реализация работы с кнопкой sw0 и светодиодом led0.
 *
 * Подробнее см. button.h.
 */

#include <zephyr/kernel.h>
#include <zephyr/device.h>
#include <zephyr/drivers/gpio.h>
#include <zephyr/logging/log.h>

#include "button.h"
#include "event_log.h"

LOG_MODULE_REGISTER(button, CONFIG_LOG_DEFAULT_LEVEL);

/* ------------------------------------------------------------------ *
 *  Devicetree-узлы и константы                                        *
 * ------------------------------------------------------------------ */

/* sw0 = boot_button на PH3 (GPIO_ACTIVE_HIGH | GPIO_PULL_DOWN). */
#define SW0_NODE DT_ALIAS(sw0)
BUILD_ASSERT(DT_NODE_HAS_STATUS_OKAY(SW0_NODE),
	     "Не найден узел кнопки (alias sw0) в devicetree. "
	     "Проверьте DTS платы: узел gpio-keys с алиасом sw0.");

/* Светодиод led0 (PE4). */
#define LED0_NODE DT_ALIAS(led0)

#define BUTTON_DEBOUNCE_MS 20

static const struct gpio_dt_spec button = GPIO_DT_SPEC_GET(SW0_NODE, gpios);
static const struct gpio_dt_spec led = GPIO_DT_SPEC_GET(LED0_NODE, gpios);

/* Callback активности: вызывается при каждом нажатии (для сброса
 * таймера сна в main.c).
 */
static void (*activity_callback)(void);

/* Debounce work. */
static struct k_work_delayable debounce_work;

static struct gpio_callback button_cb;

/* ------------------------------------------------------------------ *
 *  Обработка нажатий (антидребезг + LED + activity)                    *
 * ------------------------------------------------------------------ */

static void button_debounce_handler(struct k_work *work)
{
	ARG_UNUSED(work);

	int val = gpio_pin_get_dt(&button);
	if (val < 0) {
		LOG_ERR("Не удалось прочитать состояние кнопки: %d", val);
		return;
	}

	if (val) {
		gpio_pin_set_dt(&led, 1);
		LOG_INF("[sw0] нажата");
		event_log_write(EV_BUTTON, 1);
		/* Уведомляем main() о активности для сброса таймера сна. */
		if (activity_callback) {
			activity_callback();
		}
	} else {
		gpio_pin_set_dt(&led, 0);
		LOG_INF("[sw0] отжата");
		event_log_write(EV_BUTTON, 0);
	}
}

static void button_pressed(const struct device *dev, struct gpio_callback *cb,
			   uint32_t pins)
{
	ARG_UNUSED(dev);
	ARG_UNUSED(cb);
	ARG_UNUSED(pins);

	k_work_reschedule(&debounce_work, K_MSEC(BUTTON_DEBOUNCE_MS));
}

/* ------------------------------------------------------------------ *
 *  Публичные функции                                                  *
 * ------------------------------------------------------------------ */

void button_set_activity_callback(void (*callback)(void))
{
	activity_callback = callback;
}

int button_init(void)
{
	int ret;

	if (!device_is_ready(button.port)) {
		LOG_ERR("GPIO-устройство кнопки %s не готово",
			button.port->name);
		return -ENODEV;
	}

	if (!device_is_ready(led.port)) {
		LOG_ERR("GPIO-устройство светодиода %s не готово",
			led.port->name);
		return -ENODEV;
	}

	LOG_INF("[sw0] настройка: порт=%s pin=%d",
		button.port->name, button.pin);

	/* Светодиод: выход, погашен. */
	ret = gpio_pin_configure_dt(&led, GPIO_OUTPUT_INACTIVE);
	if (ret < 0) {
		LOG_ERR("Не удалось настроить светодиод: %d", ret);
		return ret;
	}

	/* Кнопка: вход. */
	ret = gpio_pin_configure_dt(&button, GPIO_INPUT);
	if (ret < 0) {
		LOG_ERR("gpio_pin_configure_dt() failed: %d", ret);
		return ret;
	}

	/* Прерывание по обоим фронтам (нажатие/отжатие). */
	ret = gpio_pin_interrupt_configure_dt(&button, GPIO_INT_EDGE_BOTH);
	if (ret < 0) {
		LOG_ERR("gpio_pin_interrupt_configure_dt() failed: %d", ret);
		return ret;
	}

	k_work_init_delayable(&debounce_work, button_debounce_handler);

	gpio_init_callback(&button_cb, button_pressed, BIT(button.pin));
	ret = gpio_add_callback(button.port, &button_cb);
	if (ret < 0) {
		LOG_ERR("gpio_add_callback() failed: %d", ret);
		return ret;
	}

	LOG_INF("[sw0] готова: прерывания + антидребезг %d мс",
		BUTTON_DEBOUNCE_MS);
	LOG_INF("Светодиод led0 готов: зажигается по нажатию");
	return 0;
}
```

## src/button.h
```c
/*
 * SPDX-License-Identifier: Apache-2.0
 *
 * Кнопка sw0 и светодиод led0 (упрощение coconut_vibe: одна кнопка).
 *
 * По нажатию/отжатию:
 *   - зажигается/гаснет светодиод led0;
 *   - вызывается callback активности (используется в main.c
 *     для сброса таймера сна бейджа).
 *
 * sw0 определён в базовом DTS платы WeAct STM32WB55 Core
 * (boot_button, PH3, GPIO_ACTIVE_HIGH | GPIO_PULL_DOWN).
 */

#ifndef BUTTON_H
#define BUTTON_H

/*
 * Инициализация кнопки и светодиода:
 *   - настраивает GPIO кнопки на вход с прерыванием по обоим фронтам;
 *   - включает антидребезг (BUTTON_DEBOUNCE_MS);
 *   - настраивает светодиод led0 на выход.
 *
 * Возвращает 0 при успехе, отрицательный код ошибки при неудаче.
 */
int button_init(void);

/*
 * Регистрирует callback, вызываемый при каждом нажатии кнопки.
 */
void button_set_activity_callback(void (*callback)(void));

#endif /* BUTTON_H */
```

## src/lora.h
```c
/*
 * SPDX-License-Identifier: Apache-2.0
 *
 * LoRa-трансивер SX1272 (штатная подсистема Zephyr LORA,
 * backend loramac-node; распиновка — app.overlay, узел &sx1272).
 *
 * Режим: приёмник 868 МГц (BW 125 кГц, SF 7, CR 4/5),
 * непрерывный асинхронный приём (RXCONTINUOUS); пакеты
 * логируются в callback по прерыванию DIO0 (RxDone).
 */

#ifndef LORA_H
#define LORA_H

/*
 * Инициализация LoRa-модема:
 *   - проверка готовности устройства (alias lora0 -> &sx1272);
 *   - конфигурация модема: 868 МГц, BW 125 кГц, SF 7, CR 4/5, CRC;
 *   - проверка версии чипа (REG_VERSION == 0x22) и дамп ключевых
 *     регистров по SPI (низкоуровневый API loramac-node);
 *   - запуск непрерывного асинхронного приёма.
 *
 * Возвращает 0 при успехе, отрицательный код ошибки при неудаче.
 */
int lora_init(void);

#endif /* LORA_H */
```
